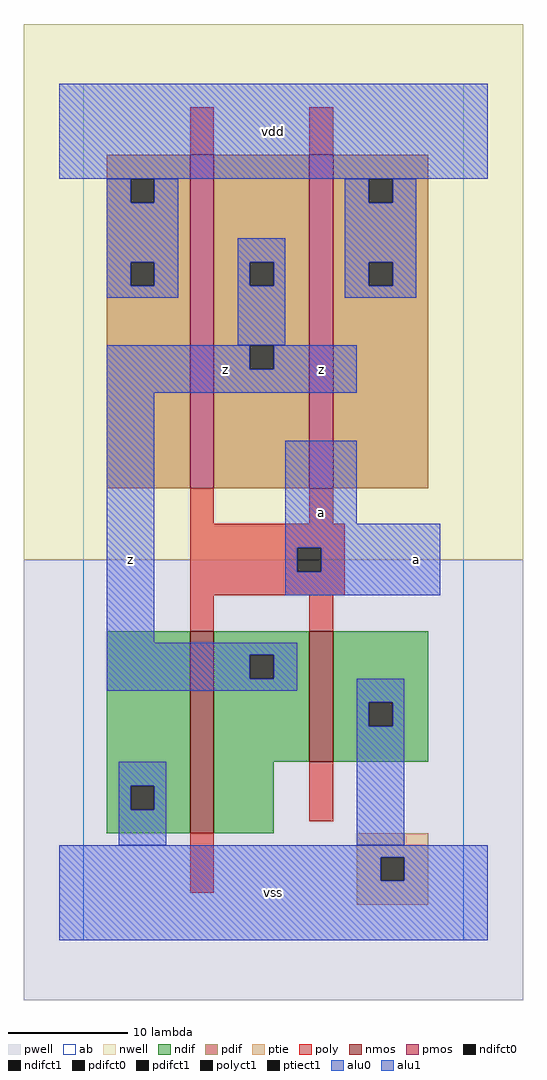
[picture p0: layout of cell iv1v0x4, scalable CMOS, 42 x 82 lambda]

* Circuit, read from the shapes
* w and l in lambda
.subckt iv1v0x4 a vdd vss z
M1 z a vss vss nfet w=17 l=2
M2 vss a z vss nfet w=11 l=2
M3 z a vdd n1 pfet w=28 l=2 m=2
.ends

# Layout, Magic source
magic
tech scmos
<< ab >>
rect 0 0 32 72
<< nwell >>
rect -5 32 37 77
<< pwell >>
rect -5 -5 37 32
<< poly >>
rect 9 66 11 70
rect 19 66 21 70
rect 9 35 11 38
rect 19 35 21 38
rect 9 33 22 35
rect 9 31 18 33
rect 20 31 22 33
rect 9 29 22 31
rect 9 26 11 29
rect 19 26 21 29
rect 19 10 21 15
rect 9 4 11 9
<< ndif >>
rect 2 13 9 26
rect 2 11 4 13
rect 6 11 9 13
rect 2 9 9 11
rect 11 24 19 26
rect 11 22 14 24
rect 16 22 19 24
rect 11 15 19 22
rect 21 20 29 26
rect 21 18 24 20
rect 26 18 29 20
rect 21 15 29 18
rect 11 9 16 15
<< pdif >>
rect 2 64 9 66
rect 2 62 4 64
rect 6 62 9 64
rect 2 57 9 62
rect 2 55 4 57
rect 6 55 9 57
rect 2 38 9 55
rect 11 57 19 66
rect 11 55 14 57
rect 16 55 19 57
rect 11 50 19 55
rect 11 48 14 50
rect 16 48 19 50
rect 11 38 19 48
rect 21 64 29 66
rect 21 62 24 64
rect 26 62 29 64
rect 21 57 29 62
rect 21 55 24 57
rect 26 55 29 57
rect 21 38 29 55
<< alu1 >>
rect -2 64 34 72
rect 2 48 14 50
rect 16 48 23 50
rect 2 46 23 48
rect 2 25 6 46
rect 17 35 23 42
rect 17 33 30 35
rect 17 31 18 33
rect 20 31 30 33
rect 17 29 30 31
rect 2 24 18 25
rect 2 22 14 24
rect 16 22 18 24
rect 2 21 18 22
rect -2 7 34 8
rect -2 5 25 7
rect 27 5 34 7
rect -2 0 34 5
<< ptie >>
rect 23 7 29 9
rect 23 5 25 7
rect 27 5 29 7
rect 23 3 29 5
<< nmos >>
rect 9 9 11 26
rect 19 15 21 26
<< pmos >>
rect 9 38 11 66
rect 19 38 21 66
<< polyct1 >>
rect 18 31 20 33
<< ndifct0 >>
rect 4 11 6 13
rect 24 18 26 20
<< ndifct1 >>
rect 14 22 16 24
<< ptiect1 >>
rect 25 5 27 7
<< pdifct0 >>
rect 4 62 6 64
rect 4 55 6 57
rect 14 55 16 57
rect 24 62 26 64
rect 24 55 26 57
<< pdifct1 >>
rect 14 48 16 50
<< alu0 >>
rect 2 62 4 64
rect 6 62 8 64
rect 2 57 8 62
rect 22 62 24 64
rect 26 62 28 64
rect 2 55 4 57
rect 6 55 8 57
rect 2 54 8 55
rect 13 57 17 59
rect 13 55 14 57
rect 16 55 17 57
rect 13 50 17 55
rect 22 57 28 62
rect 22 55 24 57
rect 26 55 28 57
rect 22 54 28 55
rect 23 20 27 22
rect 23 18 24 20
rect 26 18 27 20
rect 3 13 7 15
rect 3 11 4 13
rect 6 11 7 13
rect 3 8 7 11
rect 23 8 27 18
<< labels >>
rlabel alu1 4 32 4 32 6 z
rlabel alu1 12 48 12 48 6 z
rlabel alu1 16 4 16 4 6 vss
rlabel alu1 20 36 20 36 6 a
rlabel alu1 20 48 20 48 6 z
rlabel alu1 16 68 16 68 6 vdd
rlabel alu1 28 32 28 32 6 a
<< end >>
